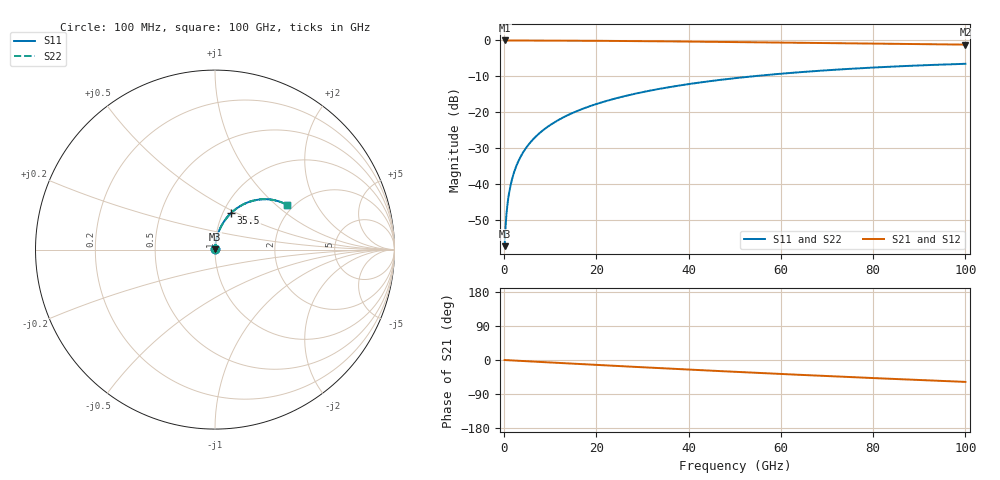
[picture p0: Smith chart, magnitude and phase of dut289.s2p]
! Touchstone file exported from HFSS 2026.1.0
!  File:  C:/ffzhzh/LocalFiles/Ansys_Project_Files/temp_train_RDL_289_1783502186_41296.aedt
!  Generated:  05:17:39 PM Jul  8, 2026
!  Design:  RDL
!  Project:  temp_train_RDL_289_1783502186_41296
! Variables:
!  h_bsmrdl = 2um
!  h_ox = 20um
!  h_rdl = 5um
!  h_sub = 80um
!  h_tmrdl = 2.28um
!  h_tsv = 80um
!  h_via = 3um
!  l_bsmrdl = 300um
!  l_sub = 541.43um
!  l_tmrdl = 141.43um
!  m_sub = 200um
!  pitch = 55.5um
!  r_tsv = 6um
!  s_tmrdl = 10um
!  w_bsmrdl = 18um
!  w_sub = 500um
!  w_tmrdl = 29.47um
!  x_tsv_center1 = 156.165um
!  x_tsv_center2 = 474.165um
!  x_tsv_center3 = 645.065um
!  x_tsv_center4 = 963.065um
!  x_tsv_center5 = 1133.965um
!  x_tsv_center6 = 1451.965um
# GHz S MA R 50.000000
! Terminal data exported
! Port[1] = TM_RDL1_1_T1
! Port[2] = TM_RDL1_1_T2
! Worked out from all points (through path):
!   1000 points, 100 MHz to 100 GHz, reference 50 ohm
!   highest |S21| = -0.01 dB at 100 MHz (marker M1); lowest = -1.2 dB at 100 GHz (marker M2)
!   group delay of S21, straight-line fit = 1.61 ps
!   lowest |S11| = -57.2 dB at 100 MHz (marker M3), VSWR 1.00, Z = 50.1 + j0.0751 ohm
!   |S11| at or under -10 dB: start of sweep to 53.74 GHz
!   |S22| runs from -57.2 to -6.5 dB; largest |S21 - S12| = 4.2e-15
!   S11 on the Smith chart (normalised r, x): 100 MHz: 1.00, +0.00; 35.5 GHz: 1.09, +0.47; 100 GHz: 1.86, +1.19
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0.1  0.00138 32.9  0.9988 -0.1  0.9988 -0.1  0.00138 32.9
! Gamma 0 0 0 0
! Port Impedance 50 0 50 0
0.4  0.003175 65.7  0.9987 -0.3  0.9987 -0.3  0.003175 65.7
0.7  0.005123 73.6  0.9986 -0.5  0.9986 -0.5  0.005123 73.6
0.9  0.006426 76.3  0.9985 -0.6  0.9985 -0.6  0.006426 76.3
1.2  0.008393 78.9  0.9985 -0.8  0.9985 -0.8  0.008393 78.9
1.5  0.01037 80.5  0.9984 -1.0  0.9984 -1.0  0.01037 80.5
2  0.01369 82.1  0.9983 -1.3  0.9983 -1.3  0.01369 82.1
2.6  0.01769 83.0  0.9982 -1.7  0.9982 -1.7  0.01769 83.0
3.3  0.02236 83.5  0.9981 -2.2  0.9981 -2.2  0.02236 83.5
4.1  0.0277 83.7  0.9979 -2.7  0.9979 -2.7  0.0277 83.7
5.1  0.03437 83.6  0.9976 -3.3  0.9976 -3.3  0.03437 83.6
6.2  0.04168 83.3  0.9972 -4.1  0.9972 -4.1  0.04168 83.3
9  0.06019 82.0  0.996 -5.9  0.996 -5.9  0.06019 82.0
12.5  0.08304 80.0  0.9939 -8.1  0.9939 -8.1  0.08303 80.0
16.8  0.1106 77.5  0.9907 -10.9  0.9907 -10.9  0.1106 77.5
24.2  0.1565 73.0  0.9837 -15.6  0.9837 -15.6  0.1565 73.0
33.4  0.2106 67.5  0.9729 -21.2  0.9729 -21.2  0.2106 67.5
35.5  0.2225 66.2  0.9701 -22.5  0.9701 -22.5  0.2224 66.2
50.1  0.2989 57.8  0.9488 -31.2  0.9488 -31.2  0.2989 57.8
66.7  0.3721 48.6  0.9223 -40.6  0.9223 -40.6  0.372 48.6
83.4  0.4303 39.8  0.8965 -49.4  0.8965 -49.4  0.4302 39.8
100  0.4731 31.5  0.8745 -57.8  0.8745 -57.8  0.4731 31.6
